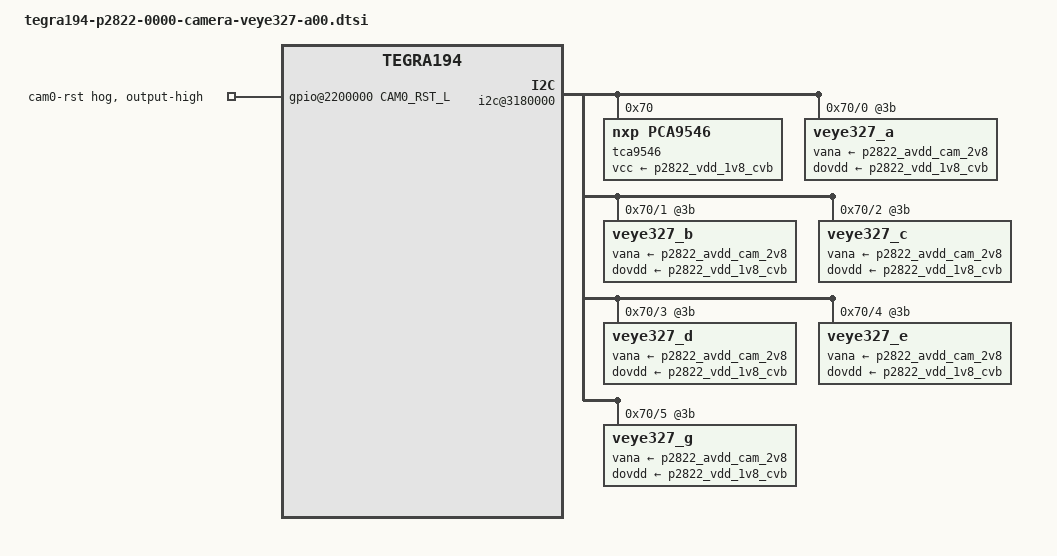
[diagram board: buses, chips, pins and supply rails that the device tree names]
/*
 * Copyright (c) 2015-2018, NVIDIA CORPORATION.  All rights reserved.
 *
 * This program is free software; you can redistribute it and/or modify
 * it under the terms of the GNU General Public License as published by
 * the Free Software Foundation; either version 2 of the License, or
 * (at your option) any later version.
 *
 * This program is distributed in the hope that it will be useful, but WITHOUT
 * ANY WARRANTY; without even the implied warranty of MERCHANTABILITY or
 * FITNESS FOR A PARTICULAR PURPOSE.  See the GNU General Public License for
 * more details.
 *
 * You should have received a copy of the GNU General Public License
 * along with this program.  If not, see <http://www.gnu.org/licenses/>.
 */
#include <t19x-common-modules/tegra194-camera-veye327-a00.dtsi>
#include "dt-bindings/clock/tegra194-clock.h"

#define CAM0_RST_L	TEGRA194_MAIN_GPIO(H, 3)
#define CAM0_PWDN	TEGRA194_MAIN_GPIO(H, 6)
#define CAM1_RST_L	TEGRA194_MAIN_GPIO(T, 6)
#define CAM1_PWDN	TEGRA194_MAIN_GPIO(T, 5)

#define CAMERA_I2C_MUX_BUS(x) (0x1E + x)

/* camera control gpio definitions */
/ {
	gpio@2200000 {
		camera-control-output-high {
			gpio-hog;
			output-high;
			gpios = <CAM0_RST_L 0>;
			label = "cam0-rst";
		};

		camera-control-output-low {
			status = "disabled";
		};

		camera-control-input {
			status = "disabled";
		};
	};

	i2c@3180000 {
		tca9546@70 {
			compatible = "nxp,pca9546";
			reg = <0x70>;
			#address-cells = <1>;
			#size-cells = <0>;
			vcc-supply = <&p2822_vdd_1v8_cvb>;
			skip_mux_detect;
			force_bus_start = <CAMERA_I2C_MUX_BUS(0)>;
			i2c@0 {
				reg = <0>;
				i2c-mux,deselect-on-exit;
				#address-cells = <1>;
				#size-cells = <0>;
			};
			i2c@1 {
				reg = <1>;
				i2c-mux,deselect-on-exit;
				#address-cells = <1>;
				#size-cells = <0>;
			};
			i2c@2 {
				reg = <2>;
				i2c-mux,deselect-on-exit;
				#address-cells = <1>;
				#size-cells = <0>;
			};
			i2c@3 {
				reg = <3>;
				i2c-mux,deselect-on-exit;
				#address-cells = <1>;
				#size-cells = <0>;
			};
			i2c@4 {
				reg = <4>;
				i2c-mux,deselect-on-exit;
				#address-cells = <1>;
				#size-cells = <0>;
			};
			i2c@5 {
				reg = <5>;
				i2c-mux,deselect-on-exit;
				#address-cells = <1>;
				#size-cells = <0>;
			};
		};
    };
};

/* camera control gpio definitions */
/ {
	i2c@3180000 {
		tca9546@70 {
			i2c@0 {
				veye327_a@3b {
					clocks = <&bpmp_clks TEGRA194_CLK_EXTPERIPH1>;
					clock-names = "extperiph1";
					mclk = "extperiph1";
					//reset-gpios = <&tca6408_21 0 GPIO_ACTIVE_HIGH>;
					vana-supply = <&p2822_avdd_cam_2v8>;
					//vdig-supply = <&en_vdd_sys>;
					dovdd-supply = <&p2822_vdd_1v8_cvb>;
				};
			};
			i2c@1 {
				veye327_b@3b {
					clocks = <&bpmp_clks TEGRA194_CLK_EXTPERIPH1>;
					clock-names = "extperiph1";
					mclk = "extperiph1";
					//reset-gpios = <&tca6408_21 1 GPIO_ACTIVE_HIGH>;
					vana-supply = <&p2822_avdd_cam_2v8>;
					//vdig-supply = <&en_vdd_sys>;
					dovdd-supply = <&p2822_vdd_1v8_cvb>;
				};
			};
			i2c@2 {
				veye327_c@3b {
					clocks = <&bpmp_clks TEGRA194_CLK_EXTPERIPH1>;
					clock-names = "extperiph1";
					mclk = "extperiph1";
					//reset-gpios = <&tca6408_21 2 GPIO_ACTIVE_HIGH>;
					vana-supply = <&p2822_avdd_cam_2v8>;
					//vdig-supply = <&en_vdd_sys>;
					dovdd-supply = <&p2822_vdd_1v8_cvb>;
				};
			};
			i2c@3 {
				veye327_d@3b{
					clocks = <&bpmp_clks TEGRA194_CLK_EXTPERIPH2>;
					clock-names = "extperiph2";
					mclk = "extperiph2";
					//reset-gpios = <&tca6408_21 3 GPIO_ACTIVE_HIGH>;
					vana-supply = <&p2822_avdd_cam_2v8>;
					//vdig-supply = <&en_vdd_sys>;
					dovdd-supply = <&p2822_vdd_1v8_cvb>;
				};
			};
			i2c@4 {
				veye327_e@3b {
					clocks = <&bpmp_clks TEGRA194_CLK_EXTPERIPH2>;
					clock-names = "extperiph2";
					mclk = "extperiph2";
					//reset-gpios = <&tca6408_21 4 GPIO_ACTIVE_HIGH>;
					vana-supply = <&p2822_avdd_cam_2v8>;
					//vdig-supply = <&en_vdd_sys>;
					dovdd-supply = <&p2822_vdd_1v8_cvb>;
				};
			};
			i2c@5 {
				veye327_g@3b {
					clocks = <&bpmp_clks TEGRA194_CLK_EXTPERIPH2>;
					clock-names = "extperiph2";
					mclk = "extperiph2";
					//reset-gpios = <&tca6408_21 5 GPIO_ACTIVE_HIGH>;
					vana-supply = <&p2822_avdd_cam_2v8>;
					//vdig-supply = <&en_vdd_sys>;
					dovdd-supply = <&p2822_vdd_1v8_cvb>;
				};
			};
		};
	};
};

